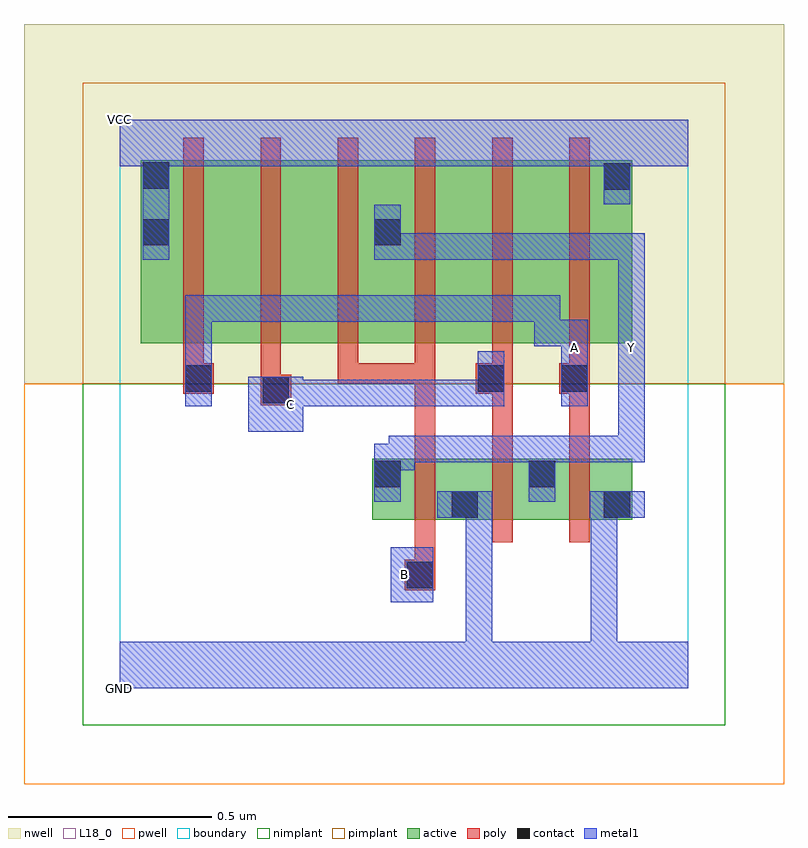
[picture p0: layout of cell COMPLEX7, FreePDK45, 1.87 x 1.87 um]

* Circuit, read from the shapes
.subckt COMPLEX7 A B C GND VCC Y
M1 GND B Y VSUBS nfet w=0.15u l=0.05u
M2 Y C GND VSUBS nfet w=0.15u l=0.05u
M3 GND A Y VSUBS nfet w=0.15u l=0.05u
M4 n1 A VCC n2 pfet w=0.45u l=0.05u
M5 n3 C n1 n2 pfet w=0.45u l=0.05u
M6 Y B n3 n2 pfet w=0.45u l=0.05u
M7 n4 B Y n2 pfet w=0.45u l=0.05u
M8 n5 C n4 n2 pfet w=0.45u l=0.05u
M9 VCC A n5 n2 pfet w=0.45u l=0.05u
.ends

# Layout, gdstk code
import gdstk
lib = gdstk.Library(unit=1e-6, precision=1e-09)
def R(c, l, rs):  # rectangles x0, y0, x1, y1
    for r in rs: c.add(gdstk.rectangle(r[:2], r[2:], *l))
def A(c, l, x, y, w, h, nx, ny, dx, dy):  # array of equal rectangles
    R(c, l, [(x+i*dx, y+j*dy, x+i*dx+w, y+j*dy+h) for i in range(nx) for j in range(ny)])
active = (1, 0)
pwell = (2, 0)
nwell = (3, 0)
nimplant = (4, 0)
pimplant = (5, 0)
poly = (9, 0)
contact = (10, 0)
metal1 = (11, 0)
L18_0 = (18, 0)
boundary = (235, 0)

complex7 = lib.new_cell('COMPLEX7')
R(complex7, active, [(0.622,0.415,0.697,0.565), (0.622,0.415,0.887,0.565), (0.812,0.415,1.077,0.565), (0.812,0.415,0.887,0.49), (1.002,0.415,1.077,0.565), (1.002,0.415,1.262,0.565), (1.187,0.415,1.262,0.565), (0.052,0.85,0.127,1.3), (0.052,0.85,0.277,1.3), (0.277,0.85,0.467,1.3), (0.467,0.85,0.697,1.3), (0.622,0.85,0.847,1.3), (0.847,0.85,1.037,1.3), (1.037,0.85,1.262,1.3), (1.187,0.85,1.262,1.3), (0.622,0.857,0.697,1.2)])
R(complex7, pwell, [(-0.235,-0.235,1.635,0.75)])
R(complex7, nwell, [(-0.235,0.75,1.635,1.635)])
R(complex7, nimplant, [(-0.09,-0.09,1.49,0.75)])
R(complex7, pimplant, [(-0.09,0.75,1.49,1.49)])
A(complex7, poly, 0.727, 0.36, 0.05, 0.26, 3, 1, 0.19, 0)
A(complex7, poly, 0.537, 0.75, 0.05, 0.095, 4, 1, 0.19, 0)
A(complex7, poly, 0.157, 0.795, 0.05, 0.56, 6, 1, 0.19, 0)
R(complex7, poly, [(0.702,0.242,0.777,0.317), (0.727,0.267,0.777,0.41), (0.727,0.57,0.777,0.8), (0.917,0.57,0.967,0.775), (1.107,0.57,1.157,0.775), (0.347,0.697,0.422,0.772), (0.347,0.722,0.397,0.845), (0.157,0.725,0.232,0.8), (0.877,0.725,0.967,0.8), (1.082,0.725,1.157,0.8), (0.157,0.75,0.207,0.845), (0.537,0.75,0.777,0.8), (0.537,0.75,0.587,0.8), (0.537,0.75,0.587,0.8), (0.537,0.75,0.587,0.8), (0.727,0.75,0.777,0.8)])
R(complex7, contact, [(0.707,0.247,0.772,0.312), (0.817,0.42,0.882,0.485), (1.192,0.42,1.257,0.485), (0.627,0.495,0.692,0.56), (1.007,0.495,1.072,0.56), (0.352,0.702,0.417,0.767), (0.162,0.73,0.227,0.795), (0.882,0.73,0.947,0.795), (1.087,0.73,1.152,0.795), (0.057,1.09,0.122,1.155), (0.627,1.09,0.692,1.155), (1.192,1.227,1.257,1.292), (0.057,1.23,0.122,1.295)])
R(complex7, metal1, [(0,0,1.4,0.115), (0.852,0.05,0.917,0.115), (0.852,0.05,0.917,0.115), (0.852,0.05,0.917,0.115), (0.852,0.05,0.917,0.115), (0.852,0.05,0.917,0.485), (1.16,0.05,1.225,0.115), (1.16,0.05,1.225,0.115), (1.16,0.05,1.225,0.485), (0.667,0.212,0.772,0.347), (0.782,0.42,0.917,0.485), (0.852,0.42,0.917,0.485), (0.852,0.42,0.917,0.485), (1.157,0.42,1.292,0.485), (1.16,0.42,1.225,0.485), (1.16,0.42,1.225,0.485), (1.16,0.42,1.225,0.485), (1.16,0.42,1.225,0.485), (0.627,0.46,0.692,0.602), (1.007,0.46,1.072,0.622), (0.627,0.537,0.727,0.602), (0.662,0.537,0.727,0.622), (0.662,0.557,0.83,0.622), (0.765,0.557,0.83,0.622), (0.765,0.557,0.947,0.622), (0.882,0.557,0.947,0.622), (0.882,0.557,1.072,0.622), (1.007,0.557,1.292,0.622), (1.227,0.557,1.292,0.622), (1.227,0.557,1.292,0.622), (1.227,0.557,1.292,0.622), (1.227,0.557,1.292,0.837), (0.317,0.632,0.452,0.767), (0.162,0.695,0.227,0.83), (0.387,0.695,0.452,0.76), (0.387,0.695,0.452,0.76), (0.387,0.695,0.59,0.76), (0.525,0.695,0.59,0.76), (0.525,0.695,0.59,0.76), (0.525,0.695,0.59,0.76), (0.525,0.695,0.81,0.76), (0.745,0.695,0.81,0.76), (0.745,0.695,0.865,0.76), (0.8,0.695,0.865,0.76), (0.8,0.695,0.947,0.76), (0.882,0.695,0.947,0.83), (1.087,0.695,1.152,0.907), (0.162,0.765,0.227,0.83), (0.162,0.765,0.227,0.83), (0.162,0.765,0.227,0.967), (1.227,0.772,1.292,0.907), (1.02,0.842,1.085,0.907), (1.02,0.842,1.152,0.907), (1.02,0.842,1.085,0.967), (1.227,0.842,1.292,1.12), (0.162,0.902,0.227,0.967), (0.162,0.902,0.452,0.967), (0.387,0.902,0.452,0.967), (0.387,0.902,0.452,0.967), (0.387,0.902,0.452,0.967), (0.387,0.902,0.59,0.967), (0.525,0.902,0.59,0.967), (0.525,0.902,0.59,0.967), (0.525,0.902,0.59,0.967), (0.525,0.902,0.81,0.967), (0.745,0.902,0.81,0.967), (0.745,0.902,0.865,0.967), (0.8,0.902,0.865,0.967), (0.8,0.902,0.947,0.967), (0.882,0.902,0.947,0.967), (0.882,0.902,1.085,0.967), (1.02,0.902,1.085,0.967), (0.057,1.055,0.122,1.33), (0.627,1.055,0.692,1.19), (0.627,1.055,0.727,1.12), (0.662,1.055,0.727,1.12), (0.662,1.055,0.865,1.12), (0.8,1.055,0.865,1.12), (0.8,1.055,0.947,1.12), (0.882,1.055,0.947,1.12), (0.882,1.055,1.002,1.12), (0.937,1.055,1.002,1.12), (0.937,1.055,1.292,1.12), (1.227,1.055,1.292,1.12), (1.227,1.055,1.292,1.12), (1.227,1.055,1.292,1.12), (1.227,1.055,1.292,1.12), (1.227,1.055,1.292,1.12), (1.192,1.192,1.257,1.327), (1.192,1.262,1.257,1.35), (0.057,1.265,0.122,1.35), (0,1.285,1.4,1.4)])
R(complex7, L18_0, [(0,0,1.4,0.115), (0.852,0.05,0.917,0.115), (0.852,0.05,0.917,0.115), (0.852,0.05,0.917,0.115), (0.852,0.05,0.917,0.115), (0.852,0.05,0.917,0.485), (1.16,0.05,1.225,0.115), (1.16,0.05,1.225,0.115), (1.16,0.05,1.225,0.485), (0.667,0.212,0.772,0.347), (0.667,0.247,0.732,0.312), (0.782,0.42,0.917,0.485), (0.852,0.42,0.917,0.485), (0.852,0.42,0.917,0.485), (1.157,0.42,1.292,0.485), (1.16,0.42,1.225,0.485), (1.16,0.42,1.225,0.485), (1.16,0.42,1.225,0.485), (1.16,0.42,1.225,0.485), (0.627,0.46,0.692,0.602), (1.007,0.46,1.072,0.622), (0.627,0.537,0.727,0.602), (0.662,0.537,0.727,0.622), (0.662,0.557,0.83,0.622), (0.765,0.557,0.83,0.622), (0.765,0.557,0.947,0.622), (0.882,0.557,0.947,0.622), (0.882,0.557,1.072,0.622), (1.007,0.557,1.292,0.622), (1.227,0.557,1.292,0.622), (1.227,0.557,1.292,0.622), (1.227,0.557,1.292,0.622), (1.227,0.557,1.292,0.837), (0.317,0.632,0.452,0.767), (0.387,0.667,0.452,0.732), (0.162,0.695,0.227,0.83), (0.387,0.695,0.452,0.76), (0.387,0.695,0.452,0.76), (0.387,0.695,0.59,0.76), (0.525,0.695,0.59,0.76), (0.525,0.695,0.59,0.76), (0.525,0.695,0.59,0.76), (0.525,0.695,0.81,0.76), (0.745,0.695,0.81,0.76), (0.745,0.695,0.865,0.76), (0.8,0.695,0.865,0.76), (0.8,0.695,0.947,0.76), (0.882,0.695,0.947,0.83), (1.087,0.695,1.152,0.907), (0.162,0.765,0.227,0.83), (0.162,0.765,0.227,0.83), (0.162,0.765,0.227,0.967), (1.227,0.772,1.292,0.907), (1.087,0.807,1.152,0.872), (1.227,0.807,1.292,0.872), (1.02,0.842,1.085,0.907), (1.02,0.842,1.085,0.967), (1.02,0.842,1.152,0.907), (1.227,0.842,1.292,1.12), (0.162,0.902,0.227,0.967), (0.162,0.902,0.452,0.967), (0.387,0.902,0.452,0.967), (0.387,0.902,0.452,0.967), (0.387,0.902,0.452,0.967), (0.387,0.902,0.59,0.967), (0.525,0.902,0.59,0.967), (0.525,0.902,0.59,0.967), (0.525,0.902,0.59,0.967), (0.525,0.902,0.81,0.967), (0.745,0.902,0.81,0.967), (0.745,0.902,0.865,0.967), (0.8,0.902,0.865,0.967), (0.8,0.902,0.947,0.967), (0.882,0.902,0.947,0.967), (0.882,0.902,1.085,0.967), (1.02,0.902,1.085,0.967), (0.057,1.055,0.122,1.33), (0.627,1.055,0.692,1.19), (0.627,1.055,0.727,1.12), (0.662,1.055,0.727,1.12), (0.662,1.055,0.865,1.12), (0.8,1.055,0.865,1.12), (0.8,1.055,0.947,1.12), (0.882,1.055,0.947,1.12), (0.882,1.055,1.002,1.12), (0.937,1.055,1.002,1.12), (0.937,1.055,1.292,1.12), (1.227,1.055,1.292,1.12), (1.227,1.055,1.292,1.12), (1.227,1.055,1.292,1.12), (1.227,1.055,1.292,1.12), (1.227,1.055,1.292,1.12), (1.192,1.192,1.257,1.327), (1.192,1.262,1.257,1.35), (0.057,1.265,0.122,1.35), (0,1.285,1.4,1.4)])
R(complex7, boundary, [(0,0,1.4,1.4)])
complex7.add(gdstk.Label('A', (1.12,0.84), layer=11, texttype=0))
complex7.add(gdstk.Label('B', (0.7,0.28), layer=11, texttype=0))
complex7.add(gdstk.Label('C', (0.42,0.7), layer=11, texttype=0))
complex7.add(gdstk.Label('Y', (1.26,0.84), layer=11, texttype=0))
complex7.add(gdstk.Label('VCC', (0,1.4), layer=11, texttype=0))
complex7.add(gdstk.Label('GND', (0,0), layer=11, texttype=0))

lib.write_gds('COMPLEX7.gds')
